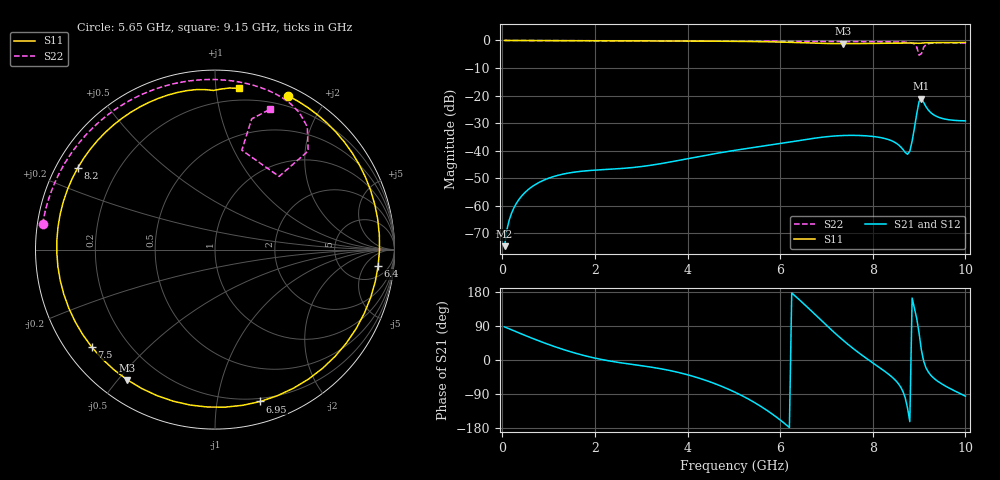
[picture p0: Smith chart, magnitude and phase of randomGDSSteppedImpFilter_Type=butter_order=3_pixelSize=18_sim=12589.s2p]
! freq	dB(S11)	phase(S11)	dB(S12)	phase(S12)
!  dB(S21)	phase(S21)	dB(S22)	phase(S22)
!S-par simulation data
#  GHz  S  DB  R 50
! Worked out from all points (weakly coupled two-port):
!   200 points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, 50 MHz to 10 GHz, reference 50 ohm
!   highest |S21| = -21.06 dB at 9.05 GHz (marker M1); lowest = -74.6 dB at 50 MHz (marker M2)
!   lowest |S11| = -1.2 dB at 7.35 GHz (marker M3), VSWR 14.97, Z = 4.28 - j26.5 ohm
!   |S11| at or under -10 dB: nowhere
!   |S22| runs from -5.3 to 0.0 dB; largest |S21 - S12| = 0
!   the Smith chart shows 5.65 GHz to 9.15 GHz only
!   S11 on the Smith chart (normalised r, x): 5.65 GHz: 0.09, +1.58; 6.4 GHz: 10, -11; 6.95 GHz: 0.17, -1.33; 7.5 GHz: 0.07, -0.35; 8.2 GHz: 0.06, +0.27; 9.15 GHz: 0.11, +1.15
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0.05  -0.00 -3.1  -74.59 87.3  -74.59 87.3  -0.00 -2.1
0.2  -0.02 -12.4  -62.62 79.6  -62.62 79.6  -0.01 -8.2
0.5  -0.04 -30.8  -54.97 64.5  -54.97 64.5  -0.02 -20.4
1.1  -0.08 -65.8  -49.38 36.6  -49.38 36.6  -0.05 -44.3
1.75  -0.11 -100.3  -47.36 12.3  -47.36 12.3  -0.08 -68.7
2.6  -0.14 -140.4  -46.39 -8.1  -46.39 -8.1  -0.11 -98.2
3.4  -0.18 -175.4  -44.73 -22.6  -44.73 -22.6  -0.14 -123.6
4.25  -0.23 146.5  -42.08 -48.0  -42.08 -48.0  -0.18 -148.8
5.05  -0.32 104.7  -39.77 -86.5  -39.77 -86.5  -0.22 -171.5
5.65  -0.46 64.6  -38.25 -127.7  -38.25 -127.7  -0.26 171.6
6.4  -0.79 -5.7  -36.33 160.6  -36.33 160.6  -0.31 150.1
6.7  -0.96 -41.5  -35.55 126.4  -35.55 126.4  -0.33 141.1
6.95  -1.08 -73.4  -35.00 97.2  -35.00 97.2  -0.35 133.5
7.35  -1.16 -123.9  -34.47 53.0  -34.47 53.0  -0.38 120.9
7.5  -1.16 -141.5  -34.41 37.8  -34.41 37.8  -0.39 116.0
8.2  -1.01 149.3  -35.32 -24.7  -35.32 -24.7  -0.46 91.2
8.35  -0.98 136.9  -36.00 -38.3  -36.00 -38.3  -0.49 85.2
8.75  -0.91 107.0  -41.27 -126.5  -41.27 -126.5  -0.68 66.0
8.95  -0.99 93.3  -26.55 108.9  -26.55 108.9  -2.43 46.6
9.05  -0.97 88.1  -21.06 26.2  -21.06 26.2  -4.83 74.9
9.15  -0.84 81.6  -24.07 -20.8  -24.07 -20.8  -1.53 68.7
10  -0.76 33.1  -29.15 -95.4  -29.15 -95.4  -1.01 15.8
